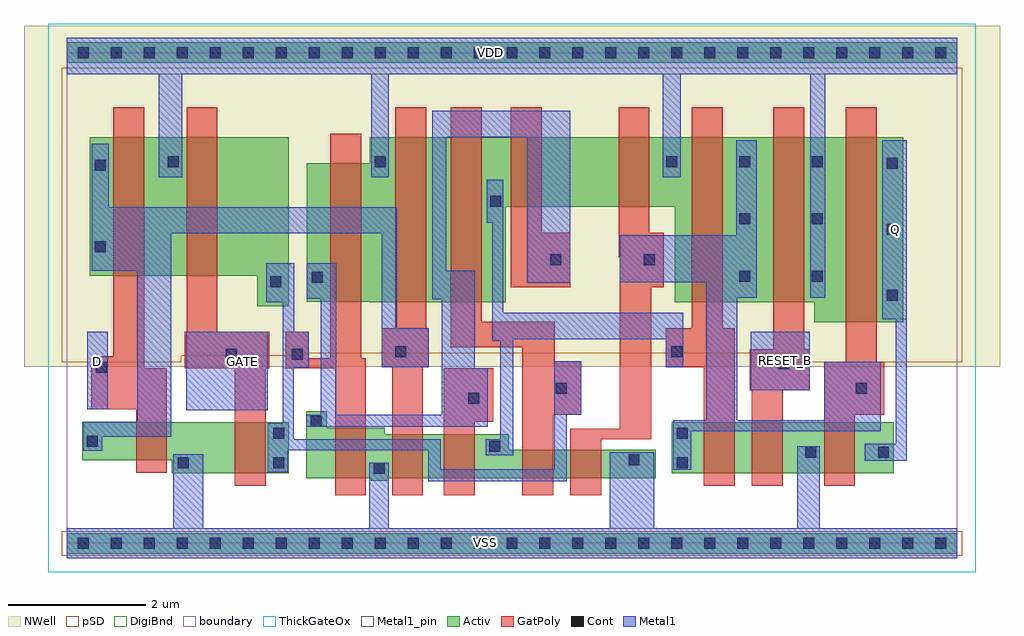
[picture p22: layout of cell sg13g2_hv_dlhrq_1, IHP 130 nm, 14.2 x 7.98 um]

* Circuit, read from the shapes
.subckt sg13g2_hv_dlhrq_1 D GATE Q RESET_B VDD VSS
XM1 VSS D n1 VSS sg13_hv_nmos w=0.55u l=0.45u
XM2 n2 GATE VSS VSS sg13_hv_nmos w=0.74u l=0.45u
XM3 VSS n2 n3 VSS sg13_hv_nmos w=0.74u l=0.45u
XM4 n4 n1 VSS VSS sg13_hv_nmos w=0.64u l=0.45u
XM5 n5 n3 n4 VSS sg13_hv_nmos w=0.64u l=0.45u
XM6 n6 n2 n5 VSS sg13_hv_nmos w=0.42u l=0.45u
XM7 VSS n7 n6 VSS sg13_hv_nmos w=0.42u l=0.45u
XM8 n8 n5 n7 VSS sg13_hv_nmos w=0.74u l=0.45u
XM9 VSS RESET_B n8 VSS sg13_hv_nmos w=0.74u l=0.45u
XM10 Q n7 VSS VSS sg13_hv_nmos w=0.74u l=0.45u
XM11 VDD D n1 VDD sg13_hv_pmos w=2.015u l=0.45u
XM12 n2 GATE VDD VDD sg13_hv_pmos w=2.015u l=0.45u
XM13 VDD n2 n3 VDD sg13_hv_pmos w=2.015u l=0.45u
XM14 n9 n1 VDD VDD sg13_hv_pmos w=2.4u l=0.45u
XM15 n5 n2 n9 VDD sg13_hv_pmos w=2.4u l=0.45u
XM16 n10 n3 n5 VDD sg13_hv_pmos w=1.01u l=0.45u
XM17 VDD n7 n10 VDD sg13_hv_pmos w=1.01u l=0.45u
XM18 n7 n5 VDD VDD sg13_hv_pmos w=2.4u l=0.45u
XM19 VDD RESET_B n7 VDD sg13_hv_pmos w=2.4u l=0.45u
XM20 Q n7 VDD VDD sg13_hv_pmos w=2.69u l=0.45u
.ends

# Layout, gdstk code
import gdstk
lib = gdstk.Library(unit=1e-6, precision=1e-09)
def R(c, l, rs):  # rectangles x0, y0, x1, y1
    for r in rs: c.add(gdstk.rectangle(r[:2], r[2:], *l))
def A(c, l, x, y, w, h, nx, ny, dx, dy):  # array of equal rectangles
    R(c, l, [(x+i*dx, y+j*dy, x+i*dx+w, y+j*dy+h) for i in range(nx) for j in range(ny)])
def P(c, l, *ps):  # polygons
    for p in ps: c.add(gdstk.Polygon(p, *l))
Activ = (1, 0)
GatPoly = (5, 0)
Cont = (6, 0)
Metal1 = (8, 0)
Metal1_pin = (8, 2)
pSD = (14, 0)
DigiBnd = (16, 0)
NWell = (31, 0)
ThickGateOx = (44, 0)
boundary = (189, 4)

sg13g2_hv_dlhrq_1 = lib.new_cell('sg13g2_hv_dlhrq_1')
R(sg13g2_hv_dlhrq_1, Activ, [(0,-0.15,12.96,0.15), (8.805,1.02,12.035,1.76), (0,6.99,12.96,7.29)])
P(sg13g2_hv_dlhrq_1, Activ, [(4.425,0.91),(4.425,0.945),(3.485,0.945),(3.485,1.925),(3.785,1.925),(3.785,1.685),(4.625,1.685),(4.625,1.585),(6.435,1.585),(6.435,1.365),(8.57,1.365),(8.57,0.945),(4.665,0.945),(4.665,0.91)],
  [(1.53,1.02),(1.53,1.21),(0.225,1.21),(0.225,1.76),(3.235,1.76),(3.235,1.02)],
  [(10.88,3.22),(10.88,3.51),(8.845,3.51),(8.845,4.9),(6.39,4.9),(6.39,3.51),(4.41,3.51),(4.41,3.515),(3.495,3.515),(3.495,5.53),(4.41,5.53),(4.41,5.91),(12.175,5.91),(12.175,3.22)],
  [(2.775,3.45),(2.775,3.895),(0.34,3.895),(0.34,5.91),(3.235,5.91),(3.235,3.45)])
P(sg13g2_hv_dlhrq_1, GatPoly, [(11.02,0.84),(11.02,2.645),(11.335,2.645),(11.335,6.345),(11.785,6.345),(11.785,2.645),(11.895,2.645),(11.895,1.87),(11.47,1.87),(11.47,0.84)],
  [(9.97,0.84),(9.97,2.225),(9.94,2.225),(9.94,2.825),(10.28,2.825),(10.28,6.345),(10.73,6.345),(10.73,2.825),(10.81,2.825),(10.81,2.225),(10.42,2.225),(10.42,0.84)],
  [(9.27,0.84),(9.27,2.565),(8.715,2.565),(8.715,3.13),(9.095,3.13),(9.095,6.345),(9.545,6.345),(9.545,3.13),(9.72,3.13),(9.72,0.84)],
  [(7.33,0.7),(7.33,1.665),(8.05,1.665),(8.05,4.16),(8.03,4.16),(8.03,6.345),(8.48,6.345),(8.48,4.52),(8.685,4.52),(8.685,3.73),(8.505,3.73),(8.505,1.515),(7.78,1.515),(7.78,0.7)],
  [(6.63,0.7),(6.63,2.855),(5.59,2.855),(5.59,6.345),(6.04,6.345),(6.04,3.225),(7.105,3.225),(7.105,2.65),(7.49,2.65),(7.49,1.875),(7.08,1.875),(7.08,0.7)],
  [(6.46,3.73),(6.46,6.345),(6.91,6.345),(6.91,4.52),(7.325,4.52),(7.325,3.73)],
  [(5.485,0.7),(5.485,2.545),(6.21,2.545),(6.21,1.77),(5.935,1.77),(5.935,0.7)],
  [(4.735,0.7),(4.735,2.565),(4.585,2.565),(4.585,3.13),(4.785,3.13),(4.785,6.345),(5.235,6.345),(5.235,3.13),(5.27,3.13),(5.27,2.565),(5.185,2.565),(5.185,0.7)],
  [(3.905,0.7),(3.905,2.545),(3.19,2.545),(3.19,3.08),(3.52,3.08),(3.52,2.695),(3.835,2.695),(3.835,5.96),(4.285,5.96),(4.285,2.695),(4.355,2.695),(4.355,0.7)],
  [(2.445,0.84),(2.445,2.545),(1.72,2.545),(1.72,3.08),(1.745,3.08),(1.745,6.345),(2.195,6.345),(2.195,3.08),(2.95,3.08),(2.95,2.545),(2.895,2.545),(2.895,0.84)],
  [(1.01,1.03),(1.01,1.95),(0.355,1.95),(0.355,2.725),(0.68,2.725),(0.68,6.345),(1.13,6.345),(1.13,2.545),(1.46,2.545),(1.46,1.03)])
A(sg13g2_hv_dlhrq_1, Cont, 0.16, -0.08, 0.16, 0.16, 27, 2, 0.48, 7.14)
A(sg13g2_hv_dlhrq_1, Cont, 11.93, 3.53, 0.16, 0.16, 1, 3, 0, 0.96)
R(sg13g2_hv_dlhrq_1, Cont, [(4.465,1.01,4.625,1.17), (1.615,1.09,1.775,1.25), (3.005,1.09,3.165,1.25), (8.875,1.095,9.035,1.255), (8.175,1.135,8.335,1.295), (10.75,1.245,10.91,1.405), (11.805,1.245,11.965,1.405), (6.15,1.33,6.31,1.49), (0.295,1.405,0.455,1.565), (3.005,1.525,3.165,1.685), (8.875,1.525,9.035,1.685), (3.555,1.695,3.715,1.855), (5.84,2.035,6,2.195), (11.48,2.175,11.64,2.335), (7.12,2.18,7.28,2.34), (0.425,2.48,0.585,2.64), (10.355,2.53,10.515,2.69), (2.315,2.67,2.475,2.83), (3.275,2.67,3.435,2.83), (4.785,2.705,4.945,2.865), (8.8,2.705,8.96,2.865), (2.965,3.73,3.125,3.89), (3.565,3.79,3.725,3.95), (9.785,3.805,9.945,3.965), (10.84,3.805,11,3.965), (7.035,4.045,7.195,4.205), (8.395,4.045,8.555,4.205), (0.41,4.235,0.57,4.395), (9.785,4.645,9.945,4.805), (10.84,4.645,11,4.805), (6.16,4.895,6.32,5.055), (0.41,5.425,0.57,5.585), (1.475,5.47,1.635,5.63), (4.48,5.47,4.64,5.63), (8.725,5.47,8.885,5.63), (9.785,5.47,9.945,5.63), (10.84,5.47,11,5.63)])
R(sg13g2_hv_dlhrq_1, Metal1, [(1.74,1.935,2.925,3.08), (0.3,1.95,0.6,3.08), (9.95,2.225,10.81,3.08)])
P(sg13g2_hv_dlhrq_1, Metal1, [(0,-0.22),(0,0.22),(1.55,0.22),(1.55,1.3),(1.985,1.3),(1.985,0.22),(4.4,0.22),(4.4,1.175),(4.69,1.175),(4.69,0.22),(7.905,0.22),(7.905,1.325),(8.55,1.325),(8.55,0.22),(10.63,0.22),(10.63,1.415),(10.96,1.415),(10.96,0.22),(12.96,0.22),(12.96,-0.22)],
  [(5.265,0.905),(5.265,1.355),(3.215,1.355),(3.215,1.035),(2.925,1.035),(2.925,1.745),(3.145,1.745),(3.145,3.51),(2.905,3.51),(2.905,4.075),(3.315,4.075),(3.315,3.08),(3.52,3.08),(3.52,2.555),(3.305,2.555),(3.305,1.515),(5.44,1.515),(5.44,1.075),(7.095,1.075),(7.095,2.65),(7.49,2.65),(7.49,1.875),(7.28,1.875),(7.28,0.905)],
  [(6.1,1.28),(6.1,1.515),(6.31,1.515),(6.31,2.95),(6.19,2.95),(6.19,4.665),(6.11,4.665),(6.11,5.29),(6.35,5.29),(6.35,3.355),(8.975,3.355),(8.975,2.565),(8.715,2.565),(8.715,2.97),(6.495,2.97),(6.495,1.28)],
  [(0.24,1.35),(0.24,1.77),(1.025,1.77),(1.025,3.97),(0.365,3.97),(0.365,5.815),(0.61,5.815),(0.61,4.89),(4.8,4.89),(4.8,3.13),(5.27,3.13),(5.27,2.565),(4.585,2.565),(4.585,4.51),(1.52,4.51),(1.52,1.55),(0.515,1.55),(0.515,1.35)],
  [(8.825,1.07),(8.825,1.79),(9.305,1.79),(9.305,3.8),(8.05,3.8),(8.05,4.485),(9.74,4.485),(9.74,5.865),(10.04,5.865),(10.04,3.57),(9.76,3.57),(9.76,1.79),(11.02,1.79),(11.02,2.645),(11.845,2.645),(11.845,1.63),(9.085,1.63),(9.085,1.07)],
  [(11.61,1.2),(11.61,1.45),(12.065,1.45),(12.065,3.26),(11.865,3.26),(11.865,5.865),(12.225,5.865),(12.225,1.2)],
  [(3.485,1.695),(3.485,1.875),(3.7,1.875),(3.7,3.56),(3.495,3.56),(3.495,4.075),(3.92,4.075),(3.92,1.875),(5.455,1.875),(5.455,3.55),(5.32,3.55),(5.32,6.295),(7.325,6.295),(7.325,3.79),(6.7,3.79),(6.7,5.91),(5.52,5.91),(5.52,3.97),(5.935,3.97),(5.935,2.545),(6.13,2.545),(6.13,1.695)],
  [(10.82,3.57),(10.82,6.825),(8.935,6.825),(8.935,5.325),(8.675,5.325),(8.675,6.825),(4.69,6.825),(4.69,5.325),(4.43,5.325),(4.43,6.825),(1.685,6.825),(1.685,5.325),(1.34,5.325),(1.34,6.825),(0,6.825),(0,7.36),(12.96,7.36),(12.96,6.825),(11.04,6.825),(11.04,3.57)])
R(sg13g2_hv_dlhrq_1, Metal1_pin, [(0,-0.22,12.96,0.22), (1.74,1.935,2.925,3.08), (0.3,1.95,0.6,3.08), (9.95,2.225,10.81,3.08), (11.865,3.26,12.225,5.865), (0,6.825,12.96,7.36)])
R(sg13g2_hv_dlhrq_1, pSD, [(-0.07,-0.18,13.03,0.18)])
P(sg13g2_hv_dlhrq_1, pSD, [(-0.07,2.635),(-0.07,6.92),(13.03,6.92),(13.03,2.635),(10.575,2.635),(10.575,2.765),(3.46,2.765),(3.46,2.73),(1.665,2.73),(1.665,2.635)])
R(sg13g2_hv_dlhrq_1, DigiBnd, [(0,0,12.96,7.14)])
R(sg13g2_hv_dlhrq_1, NWell, [(-0.62,2.57,13.58,7.53)])
R(sg13g2_hv_dlhrq_1, ThickGateOx, [(-0.27,-0.42,13.23,7.56)])
R(sg13g2_hv_dlhrq_1, boundary, [(0,0,12.96,7.14)])
sg13g2_hv_dlhrq_1.add(gdstk.Label('Q', (12.06,4.57), layer=8, texttype=25))
sg13g2_hv_dlhrq_1.add(gdstk.Label('D', (0.445,2.64), layer=8, texttype=25))
sg13g2_hv_dlhrq_1.add(gdstk.Label('RESET_B', (10.455,2.66), layer=8, texttype=25))
sg13g2_hv_dlhrq_1.add(gdstk.Label('GATE', (2.565,2.64), layer=8, texttype=25))
sg13g2_hv_dlhrq_1.add(gdstk.Label('VDD', (6.17,7.14), layer=8, texttype=25))
sg13g2_hv_dlhrq_1.add(gdstk.Label('VSS', (6.1,0.02), layer=8, texttype=25))

lib.write_gds('sg13g2_hv_dlhrq_1.gds')
